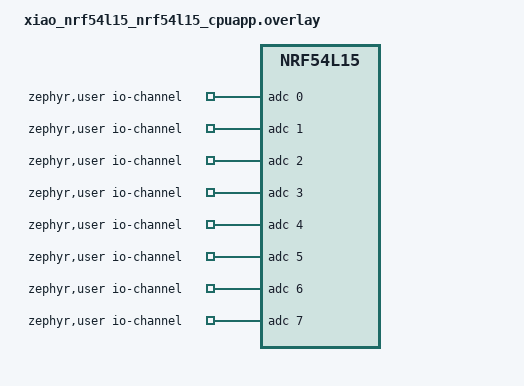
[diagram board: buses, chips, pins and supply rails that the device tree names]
/*
 * SPDX-License-Identifier: Apache-2.0
 *
 * Copyright (c) 2025 Seeed Technology Co., Ltd.
 */

/ {
	zephyr,user {
		io-channels = <&adc 0>, <&adc 1>, <&adc 2>, <&adc 3>,
			      <&adc 4>, <&adc 5>, <&adc 6>, <&adc 7>;
	};
};
